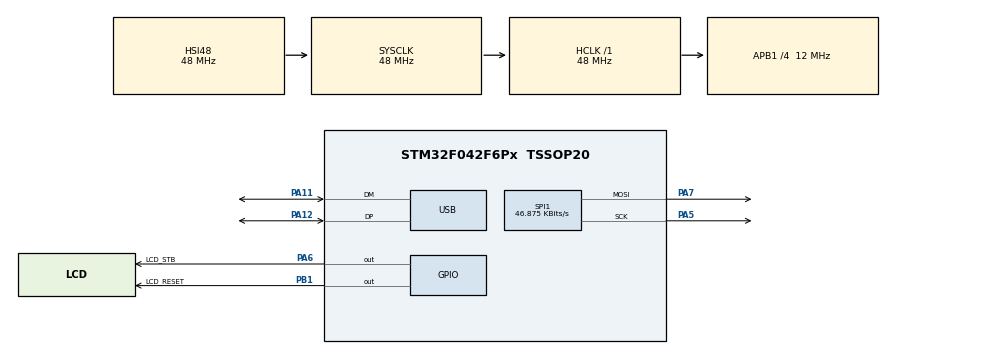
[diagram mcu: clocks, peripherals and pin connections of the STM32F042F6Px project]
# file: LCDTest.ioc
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Mcu.Family=STM32F0
Mcu.Name=STM32F042F6Px
Mcu.Package=TSSOP20
PA11.Mode=Device
PA11.Signal=USB_DM
PA12.Mode=Device
PA12.Signal=USB_DP
PA5.Mode=TX_Only_Simplex_Unidirect_Master
PA5.Signal=SPI1_SCK
PA6.GPIO_Label=LCD_STB
PA6.Signal=GPIO_Output
PA7.Mode=TX_Only_Simplex_Unidirect_Master
PA7.Signal=SPI1_MOSI
PB1.GPIO_Label=LCD_RESET
PB1.Signal=GPIO_Output
ProjectManager.HeapSize=0x200
ProjectManager.StackSize=0x400
ProjectManager.TargetToolchain=MDK-ARM V5
RCC.AHBFreq_Value=48000000
RCC.APB1CLKDivider=RCC_HCLK_DIV4
RCC.APB1Freq_Value=12000000
RCC.APB1TimFreq_Value=24000000
RCC.HCLKFreq_Value=48000000
RCC.SYSCLKFreq_VALUE=48000000
RCC.SYSCLKSource=RCC_SYSCLKSOURCE_HSI48
SPI1.BaudRatePrescaler=SPI_BAUDRATEPRESCALER_256
SPI1.CalculateBaudRate=46.875 KBits/s
SPI1.Mode=SPI_MODE_MASTER
VP_SYS_VS_PINREMAP.Mode=PINREMAP
board=LCDTest

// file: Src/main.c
/**
  ******************************************************************************
  * File Name          : main.c
  * Description        : Main program body
  ******************************************************************************
  *
  * COPYRIGHT(c) 2018 STMicroelectronics
  *
  * Redistribution and use in source and binary forms, with or without modification,
  * are permitted provided that the following conditions are met:
  *   1. Redistributions of source code must retain the above copyright notice,
  *      this list of conditions and the following disclaimer.
  *   2. Redistributions in binary form must reproduce the above copyright notice,
  *      this list of conditions and the following disclaimer in the documentation
  *      and/or other materials provided with the distribution.
  *   3. Neither the name of STMicroelectronics nor the names of its contributors
  *      may be used to endorse or promote products derived from this software
  *      without specific prior written permission.
  *
  * THIS SOFTWARE IS PROVIDED BY THE COPYRIGHT HOLDERS AND CONTRIBUTORS "AS IS"
  * AND ANY EXPRESS OR IMPLIED WARRANTIES, INCLUDING, BUT NOT LIMITED TO, THE
  * IMPLIED WARRANTIES OF MERCHANTABILITY AND FITNESS FOR A PARTICULAR PURPOSE ARE
  * DISCLAIMED. IN NO EVENT SHALL THE COPYRIGHT HOLDER OR CONTRIBUTORS BE LIABLE
  * FOR ANY DIRECT, INDIRECT, INCIDENTAL, SPECIAL, EXEMPLARY, OR CONSEQUENTIAL
  * DAMAGES (INCLUDING, BUT NOT LIMITED TO, PROCUREMENT OF SUBSTITUTE GOODS OR
  * SERVICES; LOSS OF USE, DATA, OR PROFITS; OR BUSINESS INTERRUPTION) HOWEVER
  * CAUSED AND ON ANY THEORY OF LIABILITY, WHETHER IN CONTRACT, STRICT LIABILITY,
  * OR TORT (INCLUDING NEGLIGENCE OR OTHERWISE) ARISING IN ANY WAY OUT OF THE USE
  * OF THIS SOFTWARE, EVEN IF ADVISED OF THE POSSIBILITY OF SUCH DAMAGE.
  *
  ******************************************************************************
  */
#include "main.h"
#include "stm32f0xx_hal.h"

SPI_HandleTypeDef hspi1;

PCD_HandleTypeDef hpcd_USB_FS;

/* USER CODE BEGIN PV */
/* Private variables ---------------------------------------------------------*/

/* USER CODE END PV */

void SystemClock_Config(void);
void Error_Handler(void);
static void MX_GPIO_Init(void);
static void MX_SPI1_Init(void);
static void MX_USB_PCD_Init(void);

/* USER CODE BEGIN PFP */
/* Private function prototypes -----------------------------------------------*/

/* USER CODE END PFP */

/* USER CODE BEGIN 0 */

uint32_t getUs(void) {

uint32_t usTicks = HAL_RCC_GetSysClockFreq() / 1000000;
register uint32_t ms, cycle_cnt;
do {
ms = HAL_GetTick();
cycle_cnt = SysTick->VAL;
} while (ms != HAL_GetTick());
return (ms * 1000) + (usTicks * 1000 - cycle_cnt) / usTicks;
}

void delayUs(uint16_t micros) {
uint32_t start = getUs();
while (getUs()-start < (uint32_t) micros) {
 __ASM volatile ("nop");
}
}

void SPI_Send( char Data )
{
		uint8_t dt = Data;

		HAL_GPIO_WritePin(LCD_STB_GPIO_Port, LCD_STB_Pin, GPIO_PIN_RESET);

//    device.write(Data);
		HAL_SPI_Transmit(&hspi1, &dt, 1, 500);

		HAL_GPIO_WritePin(LCD_STB_GPIO_Port, LCD_STB_Pin, GPIO_PIN_SET);
}

void SPI_Send_37uS_Delay(char Data)
{
    SPI_Send(Data);
    delayUs(37);
}

void LCD_Init (void)
{
    HAL_Delay(50);

    // This does the basic setup of the controller:
    SPI_Send_37uS_Delay(0x38);  //function set
    SPI_Send_37uS_Delay(0x3C);  //function set
    SPI_Send_37uS_Delay(0x40); //set cgram 0

    // R bias
    SPI_Send_37uS_Delay(0x06);

    SPI_Send_37uS_Delay(0x38);
    SPI_Send_37uS_Delay(0x06);
    SPI_Send_37uS_Delay(0x0C);
    SPI_Send_37uS_Delay(0x40);
    SPI_Send_37uS_Delay(0x3C);
    SPI_Send_37uS_Delay(0x80);
    SPI_Send_37uS_Delay(0x00);

    // This sets the icon characters all off:
    SPI_Send_37uS_Delay(0x38);
    SPI_Send_37uS_Delay(0x40);
    SPI_Send_37uS_Delay(0x3C);
    SPI_Send_37uS_Delay(0x85);
    SPI_Send(0x00);
    SPI_Send(0x00);
    SPI_Send(0x00);
    SPI_Send(0x00);
    SPI_Send(0x00);
    SPI_Send(0x00);
}

void LCD_Write( char Line , char *Data )
{
    uint8_t i;

    SPI_Send_37uS_Delay(0x38);

    if ( Line == 1 )
        SPI_Send_37uS_Delay(0x80);
    else
        SPI_Send_37uS_Delay(0x80 + 0x40);

    SPI_Send_37uS_Delay(0x3C);
    SPI_Send_37uS_Delay(0x8F);
    SPI_Send(0x00);

    for ( i = 0 ; i < 15 ; i++ )
        {
            if ( Data[i] == 0 )
            break;
            SPI_Send(Data[i]);
        }

    for ( ; i < 15 ; i++ )
        SPI_Send(' ');
}

const uint8_t Sig_Tab[6][6] = {  {0x04,0x00,0x00,0x00,0x00,0x00},
							{0x04,0x04,0x00,0x00,0x00,0x00},
							{0x04,0x04,0x04,0x00,0x00,0x00},
							{0x04,0x04,0x04,0x04,0x00,0x00},
							{0x04,0x04,0x04,0x04,0x04,0x00},
							{0x04,0x04,0x04,0x04,0x04,0x04} };

const uint8_t Batt_Tab[6][6] = { {0x10,0x00,0x00,0x00,0x00,0x00},
							{0x10,0x00,0x00,0x10,0x00,0x00},
							{0x10,0x00,0x10,0x10,0x00,0x00},
							{0x10,0x10,0x10,0x10,0x00,0x00},
							{0x10,0x10,0x10,0x10,0x10,0x00},
							{0x10,0x10,0x10,0x10,0x10,0x10} };

void LCD_Icons( uint8_t Batt , uint8_t Sig, uint8_t plug, uint8_t down, uint8_t up, uint8_t phone, uint8_t env )
{
SPI_Send_37uS_Delay(0x38);
SPI_Send_37uS_Delay(0x40);
SPI_Send_37uS_Delay(0x3C);
SPI_Send_37uS_Delay(0x85);

SPI_Send_37uS_Delay( Sig_Tab[Sig][0] + Batt_Tab[Batt][0]  );
SPI_Send_37uS_Delay( Sig_Tab[Sig][1] + Batt_Tab[Batt][1] + plug );//plug
SPI_Send_37uS_Delay( Sig_Tab[Sig][2] + Batt_Tab[Batt][2] + down ); //call down
SPI_Send_37uS_Delay( Sig_Tab[Sig][3] + Batt_Tab[Batt][3] + up ); //call up
SPI_Send_37uS_Delay( Sig_Tab[Sig][4] + Batt_Tab[Batt][4] + phone  ); //phone
SPI_Send_37uS_Delay( Sig_Tab[Sig][5] + Batt_Tab[Batt][5] + env ); //envelope

}

/* USER CODE END 0 */

int main(void)
{

  /* MCU Configuration----------------------------------------------------------*/

  /* Reset of all peripherals, Initializes the Flash interface and the Systick. */
  HAL_Init();

  /* Configure the system clock */
  SystemClock_Config();

  /* Initialize all configured peripherals */
  MX_GPIO_Init();
  MX_SPI1_Init();
  MX_USB_PCD_Init();

	LCD_Init();
	LCD_Write(1,"hello world!" );
	LCD_Icons(5, 5, 0x08, 0x08, 0x08, 0x08, 0x08);

  /* Infinite loop */
  while (1)
  {

  }

}

/** System Clock Configuration
*/
void SystemClock_Config(void)
{

  RCC_OscInitTypeDef RCC_OscInitStruct;
  RCC_ClkInitTypeDef RCC_ClkInitStruct;
  RCC_PeriphCLKInitTypeDef PeriphClkInit;

    /**Initializes the CPU, AHB and APB busses clocks
    */
  RCC_OscInitStruct.OscillatorType = RCC_OSCILLATORTYPE_HSI48;
  RCC_OscInitStruct.HSI48State = RCC_HSI48_ON;
  RCC_OscInitStruct.PLL.PLLState = RCC_PLL_NONE;
  if (HAL_RCC_OscConfig(&RCC_OscInitStruct) != HAL_OK)
  {
    Error_Handler();
  }

    /**Initializes the CPU, AHB and APB busses clocks
    */
  RCC_ClkInitStruct.ClockType = RCC_CLOCKTYPE_HCLK|RCC_CLOCKTYPE_SYSCLK
                              |RCC_CLOCKTYPE_PCLK1;
  RCC_ClkInitStruct.SYSCLKSource = RCC_SYSCLKSOURCE_HSI48;
  RCC_ClkInitStruct.AHBCLKDivider = RCC_SYSCLK_DIV1;
  RCC_ClkInitStruct.APB1CLKDivider = RCC_HCLK_DIV4;

  if (HAL_RCC_ClockConfig(&RCC_ClkInitStruct, FLASH_LATENCY_1) != HAL_OK)
  {
    Error_Handler();
  }

  PeriphClkInit.PeriphClockSelection = RCC_PERIPHCLK_USB;
  PeriphClkInit.UsbClockSelection = RCC_USBCLKSOURCE_HSI48;

  if (HAL_RCCEx_PeriphCLKConfig(&PeriphClkInit) != HAL_OK)
  {
    Error_Handler();
  }

    /**Configure the Systick interrupt time
    */
  HAL_SYSTICK_Config(HAL_RCC_GetHCLKFreq()/1000);

    /**Configure the Systick
    */
  HAL_SYSTICK_CLKSourceConfig(SYSTICK_CLKSOURCE_HCLK);

  /* SysTick_IRQn interrupt configuration */
  HAL_NVIC_SetPriority(SysTick_IRQn, 0, 0);
}

/* SPI1 init function */
static void MX_SPI1_Init(void)
{

  hspi1.Instance = SPI1;
  hspi1.Init.Mode = SPI_MODE_MASTER;
  hspi1.Init.Direction = SPI_DIRECTION_2LINES;
  hspi1.Init.DataSize = SPI_DATASIZE_8BIT;
  hspi1.Init.CLKPolarity = SPI_POLARITY_HIGH;
  hspi1.Init.CLKPhase = SPI_PHASE_2EDGE;
  hspi1.Init.NSS = SPI_NSS_SOFT;
  hspi1.Init.BaudRatePrescaler = SPI_BAUDRATEPRESCALER_256;
  hspi1.Init.FirstBit = SPI_FIRSTBIT_MSB;
  hspi1.Init.TIMode = SPI_TIMODE_DISABLE;
  hspi1.Init.CRCCalculation = SPI_CRCCALCULATION_DISABLE;
  hspi1.Init.CRCPolynomial = 7;
  hspi1.Init.CRCLength = SPI_CRC_LENGTH_DATASIZE;
  hspi1.Init.NSSPMode = SPI_NSS_PULSE_ENABLE;
  if (HAL_SPI_Init(&hspi1) != HAL_OK)
  {
    Error_Handler();
  }

}

/* USB init function */
static void MX_USB_PCD_Init(void)
{

  hpcd_USB_FS.Instance = USB;
  hpcd_USB_FS.Init.dev_endpoints = 8;
  hpcd_USB_FS.Init.speed = PCD_SPEED_FULL;
  hpcd_USB_FS.Init.ep0_mps = DEP0CTL_MPS_64;
  hpcd_USB_FS.Init.phy_itface = PCD_PHY_EMBEDDED;
  hpcd_USB_FS.Init.low_power_enable = DISABLE;
  hpcd_USB_FS.Init.lpm_enable = DISABLE;
  hpcd_USB_FS.Init.battery_charging_enable = DISABLE;
  if (HAL_PCD_Init(&hpcd_USB_FS) != HAL_OK)
  {
    Error_Handler();
  }

}

/** Configure pins as
        * Analog
        * Input
        * Output
        * EVENT_OUT
        * EXTI
*/
static void MX_GPIO_Init(void)
{

  GPIO_InitTypeDef GPIO_InitStruct;

  /* GPIO Ports Clock Enable */
  __HAL_RCC_GPIOA_CLK_ENABLE();
  __HAL_RCC_GPIOB_CLK_ENABLE();

  /*Configure GPIO pin Output Level */
  HAL_GPIO_WritePin(LCD_STB_GPIO_Port, LCD_STB_Pin, GPIO_PIN_RESET);

  /*Configure GPIO pin Output Level */
  HAL_GPIO_WritePin(LCD_RESET_GPIO_Port, LCD_RESET_Pin, GPIO_PIN_SET);

  /*Configure GPIO pin : LCD_STB_Pin */
  GPIO_InitStruct.Pin = LCD_STB_Pin;
  GPIO_InitStruct.Mode = GPIO_MODE_OUTPUT_PP;
  GPIO_InitStruct.Pull = GPIO_NOPULL;
  GPIO_InitStruct.Speed = GPIO_SPEED_FREQ_LOW;
  HAL_GPIO_Init(LCD_STB_GPIO_Port, &GPIO_InitStruct);

  /*Configure GPIO pin : LCD_RESET_Pin */
  GPIO_InitStruct.Pin = LCD_RESET_Pin;
  GPIO_InitStruct.Mode = GPIO_MODE_OUTPUT_PP;
  GPIO_InitStruct.Pull = GPIO_NOPULL;
  GPIO_InitStruct.Speed = GPIO_SPEED_FREQ_LOW;
  HAL_GPIO_Init(LCD_RESET_GPIO_Port, &GPIO_InitStruct);

}

void Error_Handler(void)
{
  while(1)
  {
  }
}

/************************ (C) COPYRIGHT STMicroelectronics *****END OF FILE****/
